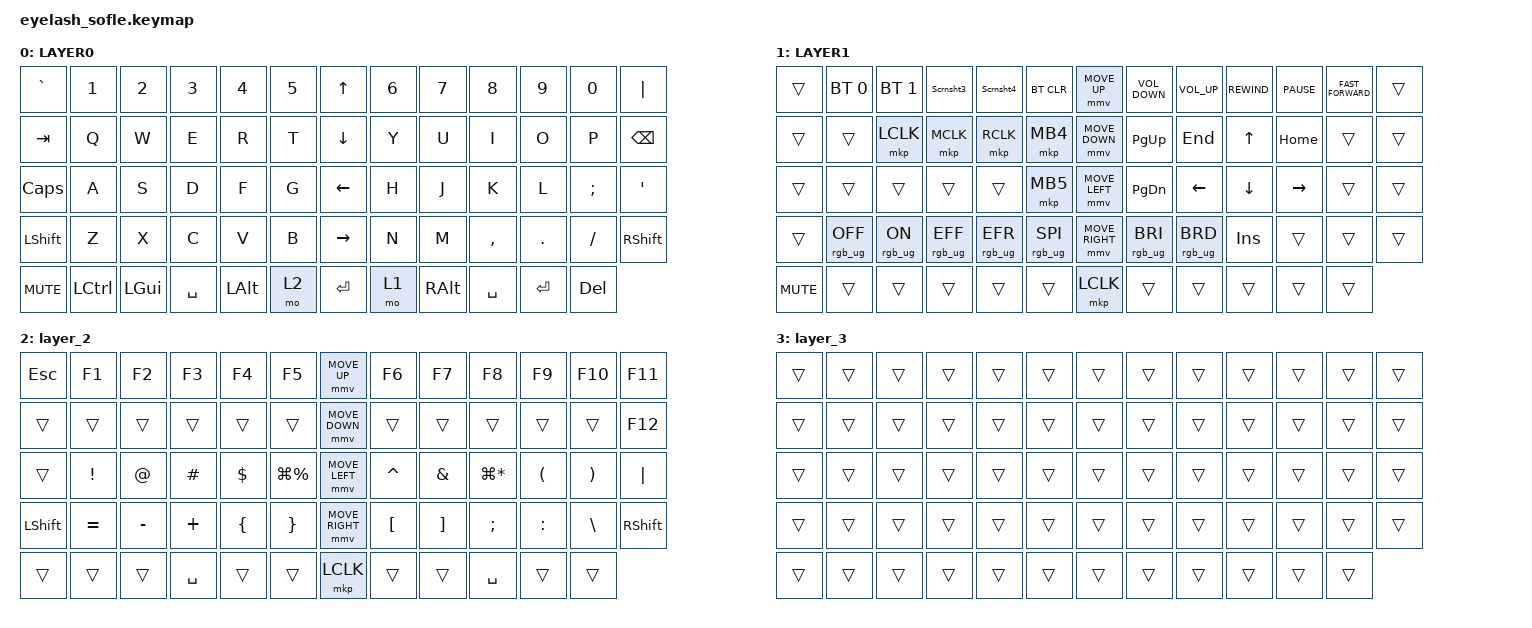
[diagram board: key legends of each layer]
#define ZMK_POINTING_DEFAULT_MOVE_VAL 1200  // 600
#define ZMK_POINTING_DEFAULT_SCRL_VAL 25   // 10

#include <input/processors.dtsi>
#include <zephyr/dt-bindings/input/input-event-codes.h>
#include <behaviors.dtsi>
#include <dt-bindings/zmk/bt.h>
#include <dt-bindings/zmk/keys.h>
#include <dt-bindings/zmk/pointing.h>
#include <dt-bindings/zmk/rgb.h>

&mmv_input_listener { input-processors = <&zip_xy_scaler 2 1>; };

&msc_input_listener { input-processors = <&zip_scroll_scaler 2 1>; };

&msc {
    acceleration-exponent = <1>;      // 0
    time-to-max-speed-ms = <100>;       // 300
    delay-ms = <0>;                   // 0
};

&mmv {
    time-to-max-speed-ms = <500>;
    acceleration-exponent = <1>;
    trigger-period-ms = <16>;
};

&soft_off { hold-time-ms = <2000>; };

/ {
    scroll_encoder: scroll_encoder {
        compatible = "zmk,behavior-sensor-rotate";
        #sensor-binding-cells = <0>;
        bindings = <&msc SCRL_DOWN>, <&msc SCRL_UP>;

        tap-ms = <100>;
    };

    behaviors {
    };

    combos { compatible = "zmk,combos"; };

    macros {
        Scrnsht4: Scrnsht4 {
            compatible = "zmk,behavior-macro";
            #binding-cells = <0>;
            bindings = <&kp LGUI &kp LEFT_SHIFT &kp NUMBER_4>;
            label = "SCRNSHT4";
        };

        Scrnsht5: Scrnsht5 {
            compatible = "zmk,behavior-macro";
            #binding-cells = <0>;
            bindings = <&kp LGUI &kp LEFT_SHIFT &kp NUMBER_5>;
            label = "SCRNSHT5";
        };

        Scrnsht3: Scrnsht3 {
            compatible = "zmk,behavior-macro";
            #binding-cells = <0>;
            bindings = <&kp LGUI &kp LEFT_SHIFT &kp NUMBER_3>;
            label = "SCRNSHT3";
        };
    };

    keymap {
        compatible = "zmk,keymap";

        layer0 {
            bindings = <
&kp GRAVE   &kp N1     &kp N2        &kp N3     &kp N4        &kp N5    &kp UP_ARROW     &kp N6  &kp N7         &kp N8     &kp N9     &kp N0      &kp PIPE
&kp TAB     &kp Q      &kp W         &kp E      &kp R         &kp T     &kp DOWN_ARROW   &kp Y   &kp U          &kp I      &kp O      &kp P       &kp BACKSPACE
&kp CAPS    &kp A      &kp S         &kp D      &kp F         &kp G     &kp LEFT_ARROW   &kp H   &kp J          &kp K      &kp L      &kp SEMI    &kp APOS
&kp LSHFT   &kp Z      &kp X         &kp C      &kp V         &kp B     &kp RIGHT_ARROW  &kp N   &kp M          &kp COMMA  &kp DOT    &kp FSLH    &kp RIGHT_SHIFT
&kp C_MUTE  &kp LCTRL  &kp LEFT_GUI  &kp SPACE  &kp LEFT_ALT  &mo 2     &kp ENTER        &mo 1   &kp RIGHT_ALT  &kp SPACE  &kp ENTER  &kp DELETE
            >;

            display-name = "LAYER0";
        };

        layer_1 {
            bindings = <
&trans      &bt BT_SEL 0     &bt BT_SEL 1    &Scrnsht3        &Scrnsht4        &bt BT_CLR         &mmv MOVE_UP     &kp C_VOLUME_DOWN  &kp C_VOLUME_UP  &kp C_REWIND  &kp C_PAUSE  &kp C_FAST_FORWARD  &trans
&trans      &trans           &mkp LCLK       &mkp MCLK        &mkp RCLK        &mkp MB4           &mmv MOVE_DOWN   &kp PG_UP          &kp END          &kp UP        &kp HOME     &trans              &trans
&trans      &trans           &trans          &trans           &trans           &mkp MB5           &mmv MOVE_LEFT   &kp PG_DN          &kp LEFT         &kp DOWN      &kp RIGHT    &trans              &trans
&trans      &rgb_ug RGB_OFF  &rgb_ug RGB_ON  &rgb_ug RGB_EFF  &rgb_ug RGB_EFR  &rgb_ug RGB_SPI    &mmv MOVE_RIGHT  &rgb_ug RGB_BRI    &rgb_ug RGB_BRD  &kp INSERT    &trans       &trans              &trans
&kp C_MUTE  &trans           &trans          &trans           &trans           &trans             &mkp LCLK        &trans             &trans           &trans        &trans       &trans
            >;

            display-name = "LAYER1";
        };

        layer_2 {
            bindings = <
&kp ESCAPE      &kp F1     &kp F2       &kp F3     &kp F4          &kp F5             &mmv MOVE_UP     &kp F6            &kp F7             &kp F8        &kp F9                &kp F10                &kp F11
&trans          &trans     &trans       &trans     &trans          &trans             &mmv MOVE_DOWN   &trans            &trans             &trans        &trans                &trans                 &kp F12
&trans          &kp EXCL   &kp AT_SIGN  &kp HASH   &kp DOLLAR      &kp LG(PERCENT)    &mmv MOVE_LEFT   &kp CARET         &kp AMPERSAND      &kp LG(STAR)  &kp LEFT_PARENTHESIS  &kp RIGHT_PARENTHESIS  &kp PIPE
&kp LEFT_SHIFT  &kp EQUAL  &kp MINUS    &kp PLUS   &kp LEFT_BRACE  &kp RIGHT_BRACE    &mmv MOVE_RIGHT  &kp LEFT_BRACKET  &kp RIGHT_BRACKET  &kp SEMI      &kp COLON             &kp BACKSLASH          &kp RIGHT_SHIFT
&trans          &trans     &trans       &kp SPACE  &trans          &trans             &mkp LCLK        &trans            &trans             &kp SPACE     &trans                &trans
            >;
        };

        layer_3 {
            bindings = <
&trans  &trans  &trans  &trans  &trans  &trans    &trans  &trans  &trans  &trans  &trans  &trans  &trans
&trans  &trans  &trans  &trans  &trans  &trans    &trans  &trans  &trans  &trans  &trans  &trans  &trans
&trans  &trans  &trans  &trans  &trans  &trans    &trans  &trans  &trans  &trans  &trans  &trans  &trans
&trans  &trans  &trans  &trans  &trans  &trans    &trans  &trans  &trans  &trans  &trans  &trans  &trans
&trans  &trans  &trans  &trans  &trans  &trans    &trans  &trans  &trans  &trans  &trans  &trans
            >;
        };
    };
};
